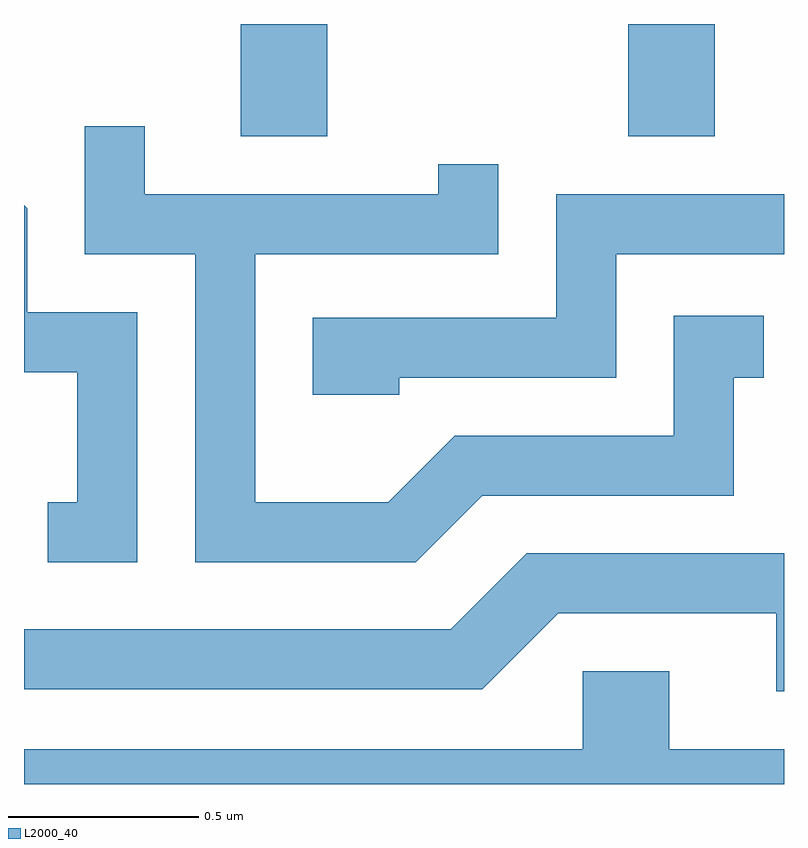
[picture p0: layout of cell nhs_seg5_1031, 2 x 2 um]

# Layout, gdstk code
import gdstk
lib = gdstk.Library(unit=1e-6, precision=1e-09)
def R(c, l, rs):  # rectangles x0, y0, x1, y1
    for r in rs: c.add(gdstk.rectangle(r[:2], r[2:], *l))
def P(c, l, *ps):  # polygons
    for p in ps: c.add(gdstk.Polygon(p, *l))
L2000_40 = (2000, 40)

nhs_seg5_1031 = lib.new_cell('nhs_seg5_1031')
R(nhs_seg5_1031, L2000_40, [(193.181,1469.776,193.409,1470.072), (194.201,1469.776,194.429,1470.072)])
P(nhs_seg5_1031, L2000_40, [(193.817,1468.831),(194.479,1468.831),(194.479,1469.141),(194.558,1469.141),(194.558,1469.304),(194.321,1469.304),(194.321,1468.989),(193.744,1468.989),(193.569,1468.814),(193.219,1468.814),(193.219,1469.466),(193.859,1469.466),(193.859,1469.703),(193.701,1469.703),(193.701,1469.624),(192.929,1469.624),(192.929,1469.803),(192.771,1469.803),(192.771,1469.466),(193.061,1469.466),(193.061,1468.656),(193.642,1468.656)],
  [(193.599,1469.141),(194.169,1469.141),(194.169,1469.466),(194.611,1469.466),(194.611,1469.624),(194.011,1469.624),(194.011,1469.299),(193.371,1469.299),(193.371,1469.096),(193.599,1469.096)],
  [(192.909,1469.314),(192.619,1469.314),(192.619,1469.587),(192.611,1469.595),(192.611,1469.156),(192.751,1469.156),(192.751,1468.814),(192.673,1468.814),(192.673,1468.656),(192.909,1468.656)],
  [(194.611,1468.679),(193.934,1468.679),(193.734,1468.479),(192.611,1468.479),(192.611,1468.321),(193.817,1468.321),(194.017,1468.521),(194.591,1468.521),(194.591,1468.316),(194.611,1468.316)],
  [(194.611,1468.164),(194.309,1468.164),(194.309,1468.369),(194.081,1468.369),(194.081,1468.164),(192.611,1468.164),(192.611,1468.072),(194.611,1468.072)])

lib.write_gds('nhs_seg5_1031.gds')
